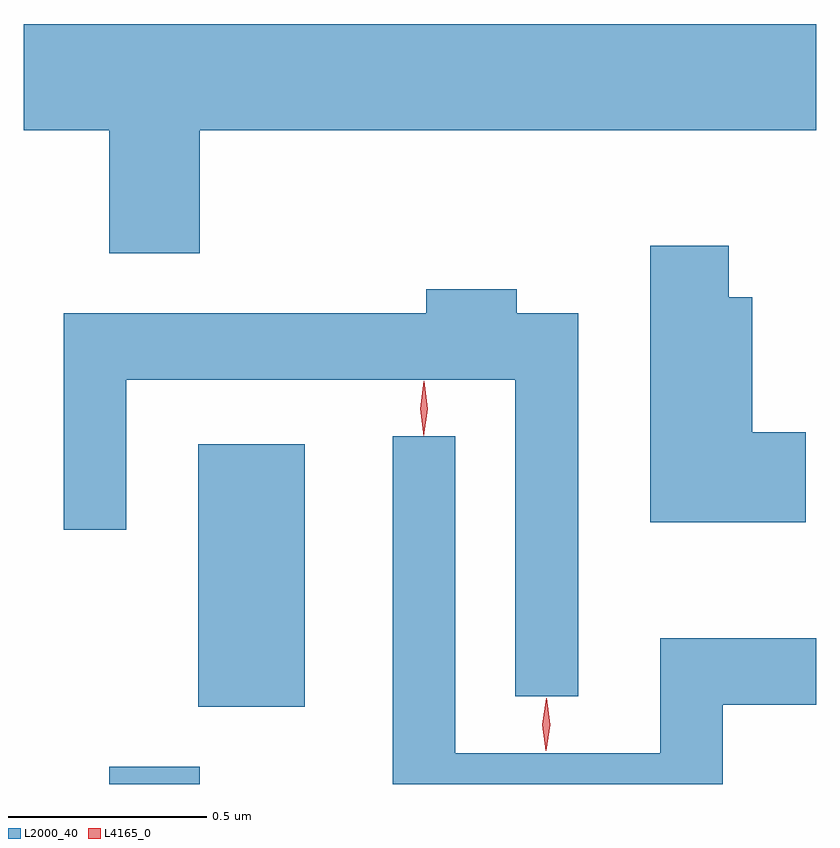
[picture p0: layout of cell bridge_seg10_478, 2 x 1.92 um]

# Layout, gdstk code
import gdstk
lib = gdstk.Library(unit=1e-6, precision=1e-09)
def R(c, l, rs):  # rectangles x0, y0, x1, y1
    for r in rs: c.add(gdstk.rectangle(r[:2], r[2:], *l))
def P(c, l, *ps):  # polygons
    for p in ps: c.add(gdstk.Polygon(p, *l))
L2000_40 = (2000, 40)
L4165_0 = (4165, 0)

bridge_seg10_478 = lib.new_cell('bridge_seg10_478')
R(bridge_seg10_478, L2000_40, [(1443.441,2127.806,1443.669,2127.849), (1443.666,2128.001,1443.934,2128.664)])
P(bridge_seg10_478, L2000_40, [(1443.669,2129.456),(1445.225,2129.456),(1445.225,2129.724),(1443.225,2129.724),(1443.225,2129.456),(1443.441,2129.456),(1443.441,2129.146),(1443.669,2129.146)],
  [(1445.199,2128.694),(1445.064,2128.694),(1445.064,2129.034),(1445.004,2129.034),(1445.004,2129.164),(1444.806,2129.164),(1444.806,2128.466),(1445.199,2128.466)],
  [(1444.624,2128.994),(1444.469,2128.994),(1444.469,2129.054),(1444.241,2129.054),(1444.241,2128.994),(1443.326,2128.994),(1443.326,2128.448),(1443.484,2128.448),(1443.484,2128.826),(1444.466,2128.826),(1444.466,2128.028),(1444.624,2128.028)],
  [(1444.989,2128.006),(1445.225,2128.006),(1445.225,2128.174),(1444.831,2128.174),(1444.831,2127.884),(1444.314,2127.884),(1444.314,2128.683),(1444.156,2128.683),(1444.156,2127.806),(1444.989,2127.806)])
P(bridge_seg10_478, L4165_0, [(1444.234,2128.684),(1444.225,2128.753),(1444.235,2128.822),(1444.235,2128.823),(1444.236,2128.822),(1444.245,2128.753),(1444.235,2128.684),(1444.235,2128.684)],
  [(1444.542,2127.89),(1444.534,2127.956),(1444.544,2128.022),(1444.545,2128.023),(1444.545,2128.022),(1444.554,2127.956),(1444.543,2127.89),(1444.543,2127.89)])

lib.write_gds('bridge_seg10_478.gds')
